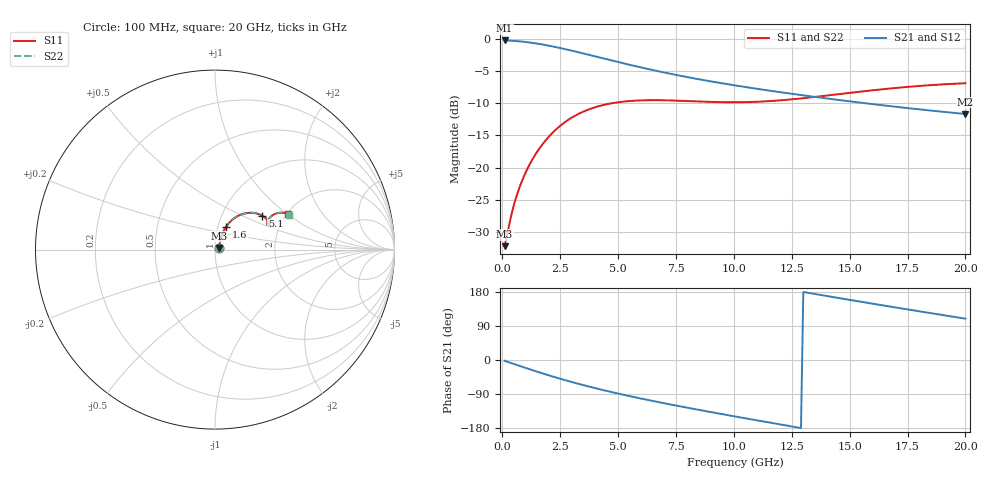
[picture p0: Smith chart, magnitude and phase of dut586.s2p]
! Touchstone file exported from HFSS 2024.1.0
!  File:  C:/UserFiles/LocalFiles/RDL_TSV_Batchsim/temp_RDL_TSV_586_1779758281.aedt
!  Generated:  09:36:36 AM May 26, 2026
!  Design:  RDL_TSV
!  Project:  temp_RDL_TSV_586_1779758281
!  Setup:  Setup1
!  Solution:  Sweep
! Variables:
!  dtsv = 6.74um
!  hbump = 3um
!  htsv = 91.41um
!  ldown = 272.86um
!  lrdl = 675.63um
!  p = 40
!  p1 = 55.76um
!  rhole = 10um
!  subl = 3521.1um
!  t = 450um
!  tdown = 2.81um
!  trdl = 3.92um
!  viad = 10um
!  wdown = 27.11um
!  wrdl = 13.94um
!  xbump = 18um
# GHz S MA R 50.000000
! Terminal data exported
! Port[1] = TM1_1_T1
! Port[2] = TM1_4_T1
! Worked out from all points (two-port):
!   200 points, 100 MHz to 20 GHz, reference 50 ohm
!   highest |S21| = -0.20 dB at 100 MHz (marker M1); lowest = -11.7 dB at 20 GHz (marker M2)
!   |S21| within 3 dB of the highest: start of sweep to 4.589 GHz
!   lowest |S11| = -32.3 dB at 100 MHz (marker M3), VSWR 1.05, Z = 52.3 + j0.951 ohm
!   |S11| at or under -10 dB: start of sweep to 4.704 GHz
!   |S22| runs from -32.3 to -6.9 dB; largest |S21 - S12| = 1.7e-14
!   S11 on the Smith chart (normalised r, x): 100 MHz: 1.05, +0.02; 1.6 GHz: 1.09, +0.28; 5.1 GHz: 1.55, +0.65; 20 GHz: 2.05, +1.01
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0.1  0.02438 21.9  0.9773 -2.1  0.9773 -2.1  0.02438 21.9
! Gamma 0 0 0 0
! Port Impedance 50 0 50 0
0.4  0.04346 52.6  0.9719 -8.5  0.9719 -8.5  0.04345 52.7
0.7  0.06648 61.5  0.9631 -14.7  0.9631 -14.7  0.06648 61.5
1.1  0.09893 64.9  0.9462 -22.8  0.9462 -22.8  0.09892 64.9
1.6  0.1405 64.2  0.9178 -32.7  0.9178 -32.7  0.1405 64.2
2  0.1731 61.8  0.8908 -40.3  0.8908 -40.3  0.1731 61.8
2.5  0.2112 57.7  0.8533 -49.4  0.8533 -49.4  0.2112 57.8
3  0.2447 53.1  0.8139 -58.1  0.8139 -58.1  0.2448 53.2
3.5  0.2726 48.5  0.7741 -66.3  0.7741 -66.3  0.2727 48.5
4.2  0.3018 42.3  0.7202 -77.1  0.7202 -77.1  0.302 42.4
5.1  0.3242 35.6  0.6568 -89.9  0.6568 -89.9  0.3245 35.6
5.9  0.3329 30.9  0.6073 -100.6  0.6073 -100.6  0.3334 31.0
6.8  0.3344 27.2  0.5591 -111.8  0.5591 -111.8  0.335 27.2
7.6  0.3316 25.1  0.5224 -121.4  0.5224 -121.4  0.3323 25.2
8.4  0.3274 24.2  0.4904 -130.6  0.4904 -130.6  0.3282 24.3
10.1  0.3226 25.2  0.4348 -149.5  0.4348 -149.5  0.3234 25.2
11.7  0.3305 27.9  0.3933 -166.8  0.3933 -166.8  0.3313 27.9
13.4  0.353 30.2  0.3569 175.2  0.3569 175.2  0.3537 30.2
15.1  0.3834 30.8  0.3262 157.6  0.3262 157.6  0.3839 30.8
16.7  0.412 29.9  0.3014 141.5  0.3014 141.5  0.4124 29.8
18.3  0.4359 28.0  0.2803 125.6  0.2803 125.6  0.4361 27.9
20  0.4537 25.6  0.2613 109.1  0.2613 109.1  0.4538 25.5
